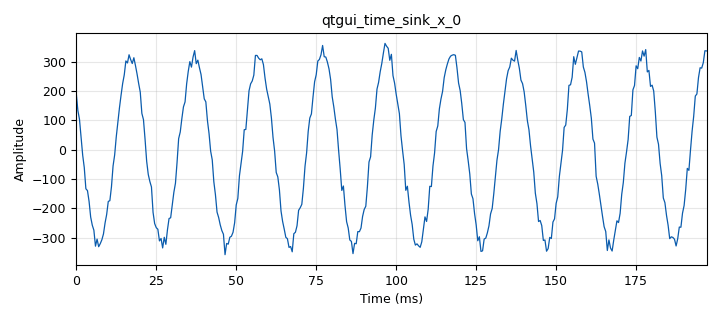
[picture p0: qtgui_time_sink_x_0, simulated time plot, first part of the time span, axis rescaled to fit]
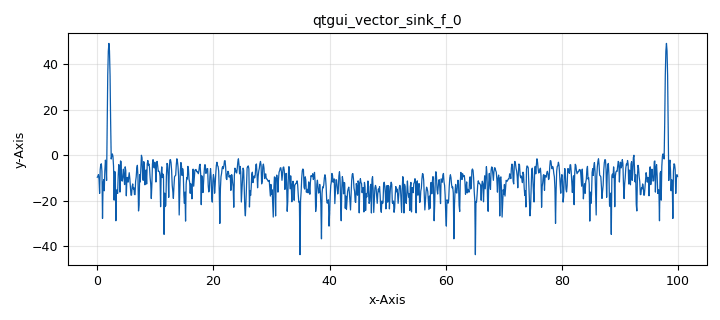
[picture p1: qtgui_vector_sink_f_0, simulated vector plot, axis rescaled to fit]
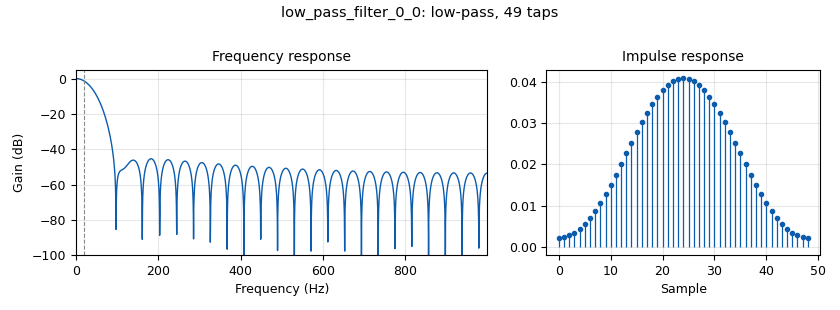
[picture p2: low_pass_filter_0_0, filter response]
options:
  parameters:
    author: neumann
    generate_options: qt_gui
    id: Scheinleistung_Low_Frequency
    output_language: python
    title: Not titled yet
  states: {}

blocks:
- name: decimation
  id: variable
  parameters:
    value: '20'
  states: {}
- name: freq_modul
  id: variable_qtgui_range
  parameters:
    outputmsgname: value
    showports: 'False'
    start: '0'
    step: '0.1'
    stop: '50'
    value: '2'
  states: {}
- name: items
  id: variable
  parameters:
    value: '1000'
  states: {}
- name: low_pass_samp_rate
  id: variable
  parameters:
    value: (source_samp_rate / decimation)
  states: {}
- name: percentage_current
  id: variable
  parameters:
    value: (5 * 0.05)
  states: {}
- name: percentage_voltage
  id: variable
  parameters:
    value: (325 * 0.05)
  states: {}
- name: source_samp_rate
  id: variable
  parameters:
    value: '2000'
  states: {}
- name: analog_noise_source_x_0
  id: analog_noise_source_x
  parameters:
    amp: percentage_current
    noise_type: analog.GR_GAUSSIAN
    seed: '0'
    type: float
  states: {}
- name: analog_noise_source_x_0_0
  id: analog_noise_source_x
  parameters:
    amp: percentage_voltage
    noise_type: analog.GR_GAUSSIAN
    seed: '10'
    type: float
  states: {}
- name: analog_sig_source_x_0
  id: analog_sig_source_x
  parameters:
    amp: '325'
    freq: '50'
    offset: '0'
    phase: '0'
    samp_rate: source_samp_rate
    type: float
    waveform: analog.GR_SIN_WAVE
  states: {}
- name: analog_sig_source_x_0_0
  id: analog_sig_source_x
  parameters:
    amp: '5'
    freq: '50'
    offset: '0'
    phase: '0'
    samp_rate: source_samp_rate
    type: float
    waveform: analog.GR_SIN_WAVE
  states: {}
- name: analog_sig_source_x_0_0_0
  id: analog_sig_source_x
  parameters:
    amp: '1'
    freq: freq_modul
    offset: '0'
    phase: '0'
    samp_rate: source_samp_rate
    type: float
    waveform: analog.GR_SIN_WAVE
  states: {}
- name: blocks_add_xx_0
  id: blocks_add_xx
  parameters:
    type: float
  states: {}
- name: blocks_add_xx_0_0
  id: blocks_add_xx
  parameters:
    type: float
  states: {}
- name: blocks_multiply_xx_0
  id: blocks_multiply_xx
  parameters:
    type: float
  states: {}
- name: blocks_multiply_xx_0_0
  id: blocks_multiply_xx
  parameters:
    type: float
  states: {}
- name: blocks_throttle_0
  id: blocks_throttle
  parameters:
    samples_per_second: source_samp_rate
    type: float
  states: {state: disabled}
- name: logpwrfft_x_0
  id: logpwrfft_x
  parameters:
    average: 'False'
    avg_alpha: '1.0'
    fft_size: items
    frame_rate: '30'
    ref_scale: '2'
    sample_rate: low_pass_samp_rate
    shift: 'False'
    type: float
  states: {}
- name: low_pass_filter_0_0
  id: low_pass_filter
  parameters:
    cutoff_freq: '20'
    decim: decimation
    gain: '1'
    samp_rate: source_samp_rate
    type: fir_filter_fff
    width: '100'
    win: window.WIN_HAMMING
  states: {}
- name: qtgui_freq_sink_x_0
  id: qtgui_freq_sink_x
  parameters:
    autoscale: 'True'
    bw: low_pass_samp_rate
    ctrlpanel: 'True'
    fc: '0'
    fftsize: items
    freqhalf: 'False'
    type: float
  states: {state: disabled}
- name: qtgui_time_sink_x_0
  id: qtgui_time_sink_x
  parameters:
    ctrlpanel: 'True'
    size: '1024'
    srate: source_samp_rate
    type: float
  states: {}
- name: qtgui_vector_sink_f_0
  id: qtgui_vector_sink_f
  parameters:
    vlen: items
    x_start: '0'
    x_step: '0.1'
    ymax: '60'
    ymin: '-20'
  states: {}
- name: zeromq_pub_sink_0
  id: zeromq_pub_sink
  parameters:
    address: tcp://10.0.0.2:5006
    timeout: '1000'
    type: float
    vlen: items
  states: {state: disabled}

connections:
- [analog_noise_source_x_0, '0', blocks_add_xx_0_0, '1']
- [analog_noise_source_x_0_0, '0', blocks_add_xx_0, '0']
- [analog_sig_source_x_0, '0', blocks_add_xx_0, '1']
- [analog_sig_source_x_0, '0', blocks_throttle_0, '0']
- [analog_sig_source_x_0_0, '0', blocks_multiply_xx_0_0, '0']
- [analog_sig_source_x_0_0_0, '0', blocks_multiply_xx_0_0, '1']
- [blocks_add_xx_0, '0', blocks_multiply_xx_0, '0']
- [blocks_add_xx_0, '0', qtgui_time_sink_x_0, '0']
- [blocks_add_xx_0_0, '0', blocks_multiply_xx_0, '1']
- [blocks_multiply_xx_0, '0', low_pass_filter_0_0, '0']
- [blocks_multiply_xx_0_0, '0', blocks_add_xx_0_0, '0']
- [blocks_throttle_0, '0', blocks_add_xx_0, '1']
- [logpwrfft_x_0, '0', qtgui_vector_sink_f_0, '0']
- [logpwrfft_x_0, '0', zeromq_pub_sink_0, '0']
- [low_pass_filter_0_0, '0', logpwrfft_x_0, '0']
- [low_pass_filter_0_0, '0', qtgui_freq_sink_x_0, '0']

metadata:
  file_format: 1
  grc_version: 3.10.4.0
